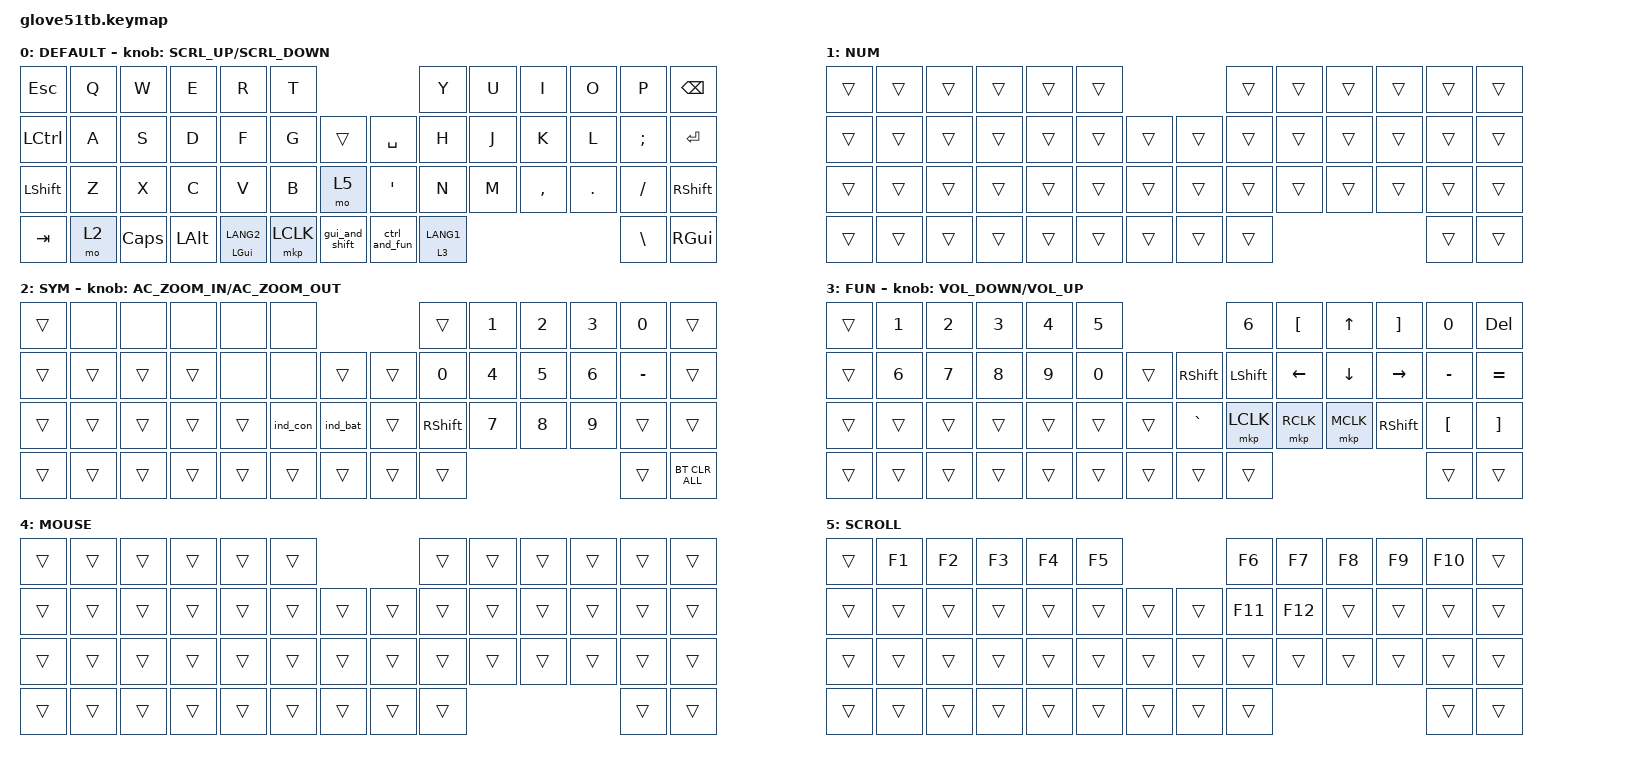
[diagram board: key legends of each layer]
#define ZMK_POINTING_DEFAULT_SCRL_VAL 150

#include <behaviors/rgbled_widget.dtsi>
#include <dt-bindings/zmk/input_transform.h>
#include <input/processors.dtsi>
#include <zephyr/dt-bindings/input/input-event-codes.h>
#include <behaviors.dtsi>
#include <dt-bindings/zmk/bt.h>
#include <dt-bindings/zmk/keys.h>
#include <dt-bindings/zmk/pointing.h>

// Layer Numbering

#define DEFAULT 0
#define NUM     1
#define SYM     2
#define FUN     3
#define MOUSE   4
#define SCROLL  5
#define SNIPE   6

&mmv {
    delay-ms = <20>;
    trigger-period-ms = <5>;
    time-to-max-speed-ms = <100>;
    acceleration-exponent = <2>;
};

&msc {
    delay-ms = <3>;
    trigger-period-ms = <3>;
    time-to-max-speed-ms = <100>;
    acceleration-exponent = <0>;
};

/ {
    input_processors {
        zip_wheel_scaler: zip_wheel_scaler {
            compatible = "zmk,input-processor-scaler";
            #input-processor-cells = <2>;
            type = <INPUT_EV_REL>;
            codes = <INPUT_REL_WHEEL>;
            track-remainders;
        };
    };
};

/ {
    combos {
        compatible = "zmk,combos";

        scroll {
            bindings = <&mo 5>;
            key-positions = <35 36>;
        };
    };

    behaviors {
        sensor_rotate_kp: sensor_rotate_kp {
            compatible = "zmk,behavior-sensor-rotate-var";
            #sensor-binding-cells = <2>;
            bindings = <&kp>, <&kp>;
        };

        mouse_wheel_scroll: mouse_wheel_scroll {
            compatible = "zmk,behavior-sensor-rotate-var";
            #sensor-binding-cells = <2>;
            bindings = <&msc>, <&msc>;

            tap-ms = <20>;
        };

        fun_and_lang1: fun_and_lang1 {
            compatible = "zmk,behavior-hold-tap";
            label = "FUN_AND_LANG1";
            #binding-cells = <2>;
            bindings = <&mo>, <&kp>;

            flavor = "tap-preferred";
            tapping-term-ms = <200>;
        };

        gui_and_lang2: gui_and_lang2 {
            compatible = "zmk,behavior-hold-tap";
            label = "GUI_AND_LANG2";
            #binding-cells = <2>;
            bindings = <&kp>, <&kp>;

            flavor = "tap-preferred";
            tapping-term-ms = <200>;
        };
    };

    macros {
        ctrl_and_fun: ctrl_and_fun {
            compatible = "zmk,behavior-macro";
            label = "CTRL_AND_FUN";
            #binding-cells = <0>;
            bindings =
                <&macro_press>,
                <&mo 3 &kp LEFT_CONTROL>,
                <&macro_pause_for_release>,
                <&macro_release>,
                <&mo 3 &kp LEFT_CONTROL>;
        };

        gui_and_shift: gui_and_shift {
            compatible = "zmk,behavior-macro";
            label = "GUI_AND_SHIFT";
            #binding-cells = <0>;
            bindings =
                <&macro_press>,
                <&kp LEFT_GUI &kp LEFT_SHIFT>,
                <&macro_pause_for_release>,
                <&macro_release>,
                <&kp LEFT_GUI &kp LEFT_SHIFT>;
        };
    };

    keymap {
        compatible = "zmk,keymap";

        default_layer {
            label = "DEFAULT";
            bindings = <
&kp ESC           &kp Q  &kp W     &kp E         &kp R                          &kp T                                        &kp Y                   &kp U  &kp I      &kp O    &kp P          &kp BSPC
&kp LEFT_CONTROL  &kp A  &kp S     &kp D         &kp F                          &kp G      &trans          &kp SPACE         &kp H                   &kp J  &kp K      &kp L    &kp SEMI       &kp RETURN
&kp LEFT_SHIFT    &kp Z  &kp X     &kp C         &kp V                          &kp B      &mo 5           &kp SINGLE_QUOTE  &kp N                   &kp M  &kp COMMA  &kp DOT  &kp FSLH       &kp RIGHT_SHIFT
&kp TAB           &mo 2  &kp CAPS  &kp LEFT_ALT  &gui_and_lang2 LEFT_GUI LANG2  &mkp LCLK  &gui_and_shift  &ctrl_and_fun     &fun_and_lang1 3 LANG1                             &kp BACKSLASH  &kp RIGHT_GUI
            >;

            sensor-bindings = <&mouse_wheel_scroll SCRL_UP SCRL_DOWN>;
        };

        number_layer {
            label = "NUM";
            bindings = <
&trans  &trans  &trans  &trans  &trans  &trans                  &trans  &trans  &trans  &trans  &trans  &trans
&trans  &trans  &trans  &trans  &trans  &trans  &trans  &trans  &trans  &trans  &trans  &trans  &trans  &trans
&trans  &trans  &trans  &trans  &trans  &trans  &trans  &trans  &trans  &trans  &trans  &trans  &trans  &trans
&trans  &trans  &trans  &trans  &trans  &trans  &trans  &trans  &trans                          &trans  &trans
            >;
        };

        symbol_layer {
            label = "SYM";
            bindings = <
&trans  &none   &none   &none   &none   &none                       &trans           &kp NUMBER_1  &kp N2  &kp N3  &kp N0     &trans
&trans  &trans  &trans  &trans  &none   &none     &trans    &trans  &kp NUMBER_0     &kp N4        &kp N5  &kp N6  &kp MINUS  &trans
&trans  &trans  &trans  &trans  &trans  &ind_con  &ind_bat  &trans  &kp RIGHT_SHIFT  &kp N7        &kp N8  &kp N9  &trans     &trans
&trans  &trans  &trans  &trans  &trans  &trans    &trans    &trans  &trans                                         &trans     &bt BT_CLR_ALL
            >;

            sensor-bindings = <&inc_dec_kp C_AC_ZOOM_IN C_AC_ZOOM_OUT>;
        };

        function_layer {
            label = "FUN";
            bindings = <
&trans  &kp NUMBER_1  &kp NUMBER_2  &kp NUMBER_3  &kp NUMBER_4  &kp NUMBER_5                           &kp NUMBER_6  &kp LBKT   &kp UP          &kp RBKT         &kp NUMBER_0      &kp DELETE
&trans  &kp N6        &kp N7        &kp N8        &kp N9        &kp N0        &trans  &kp RIGHT_SHIFT  &kp LSHFT     &kp LEFT   &kp DOWN_ARROW  &kp RIGHT_ARROW  &kp MINUS         &kp EQUAL
&trans  &trans        &trans        &trans        &trans        &trans        &trans  &kp GRAVE        &mkp LCLK     &mkp RCLK  &mkp MCLK       &kp RIGHT_SHIFT  &kp LEFT_BRACKET  &kp RIGHT_BRACKET
&trans  &trans        &trans        &trans        &trans        &trans        &trans  &trans           &trans                                                    &trans            &trans
            >;

            sensor-bindings = <&sensor_rotate_kp C_VOLUME_DOWN C_VOLUME_UP>;
        };

        mouse_layer {
            label = "MOUSE";
            bindings = <
&trans  &trans  &trans  &trans  &trans  &trans                  &trans  &trans  &trans  &trans  &trans  &trans
&trans  &trans  &trans  &trans  &trans  &trans  &trans  &trans  &trans  &trans  &trans  &trans  &trans  &trans
&trans  &trans  &trans  &trans  &trans  &trans  &trans  &trans  &trans  &trans  &trans  &trans  &trans  &trans
&trans  &trans  &trans  &trans  &trans  &trans  &trans  &trans  &trans                          &trans  &trans
            >;
        };

        scroll_layer {
            label = "SCROLL";
            bindings = <
&trans  &kp F1  &kp F2  &kp F3  &kp F4  &kp F5                  &kp F6   &kp F7   &kp F8  &kp F9  &kp F10  &trans
&trans  &trans  &trans  &trans  &trans  &trans  &trans  &trans  &kp F11  &kp F12  &trans  &trans  &trans   &trans
&trans  &trans  &trans  &trans  &trans  &trans  &trans  &trans  &trans   &trans   &trans  &trans  &trans   &trans
&trans  &trans  &trans  &trans  &trans  &trans  &trans  &trans  &trans                            &trans   &trans
            >;
        };
    };
};
